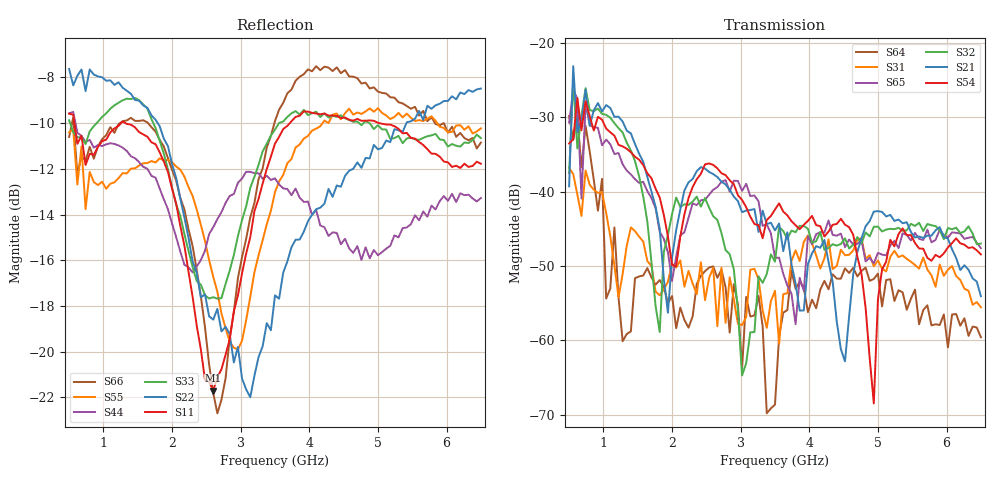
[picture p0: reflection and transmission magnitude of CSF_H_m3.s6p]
!Keysight Technologies,M9804A,MY58100912,A.14.10.03
!Date: Thursday, April 27, 2023 10:28:33
!Correction: S11(C  6-Port  )
!S12(C  6-Port  )
!S13(C  6-Port  )
!S14(C  6-Port  )
!S15(C  6-Port  )
!S16(C  6-Port  )
!S21(C  6-Port  )
!S22(C  6-Port  )
!S23(C  6-Port  )
!S24(C  6-Port  )
!S25(C  6-Port  )
!S26(C  6-Port  )
!S31(C  6-Port  )
!S32(C  6-Port  )
!S33(C  6-Port  )
!S34(C  6-Port  )
!S35(C  6-Port  )
!S36(C  6-Port  )
!S41(C  6-Port  )
!S42(C  6-Port  )
!S43(C  6-Port  )
!S44(C  6-Port  )
!S45(C  6-Port  )
!S46(C  6-Port  )
!S51(C  6-Port  )
!S52(C  6-Port  )
!S53(C  6-Port  )
!S54(C  6-Port  )
!S55(C  6-Port  )
!S56(C  6-Port  )
!S61(C  6-Port  )
!S62(C  6-Port  )
!S63(C  6-Port  )
!S64(C  6-Port  )
!S65(C  6-Port  )
!S66(C  6-Port  )
!S6P File: Measurement: :
# Hz S  RI  R 50
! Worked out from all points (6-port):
!   101 points, 500 MHz to 6.5 GHz, reference 50 ohm
!   strongest paths, dB at 500 MHz, 2 GHz, 3.5 GHz, 5 GHz, 6.5 GHz:
!     S54: -33.5, -49.9, -42.4, -54.5, -48.4
!     S21: -39.3, -48.8, -45.2, -42.6, -54.0
!     S32: -37.5, -43.0, -49.4, -44.7, -47.0
!     S65: -30.7, -52.0, -48.9, -48.2, -47.6
!     S31: -36.8, -49.7, -53.3, -49.2, -55.5
!     S64: -29.8, -54.0, -68.6, -51.0, -59.6
!   lowest |S11| = -21.7 dB at 2.6 GHz (marker M1), VSWR 1.18, Z = 42.7 + j2.04 ohm
!   |S11| at or under -10 dB: 577.1 MHz to 1.258 GHz (680.6 MHz wide, 74.2 % of centre); 1.32 GHz to 3.716 GHz (2.396 GHz wide, 95.1 % of centre); 5.02 GHz to end of sweep
